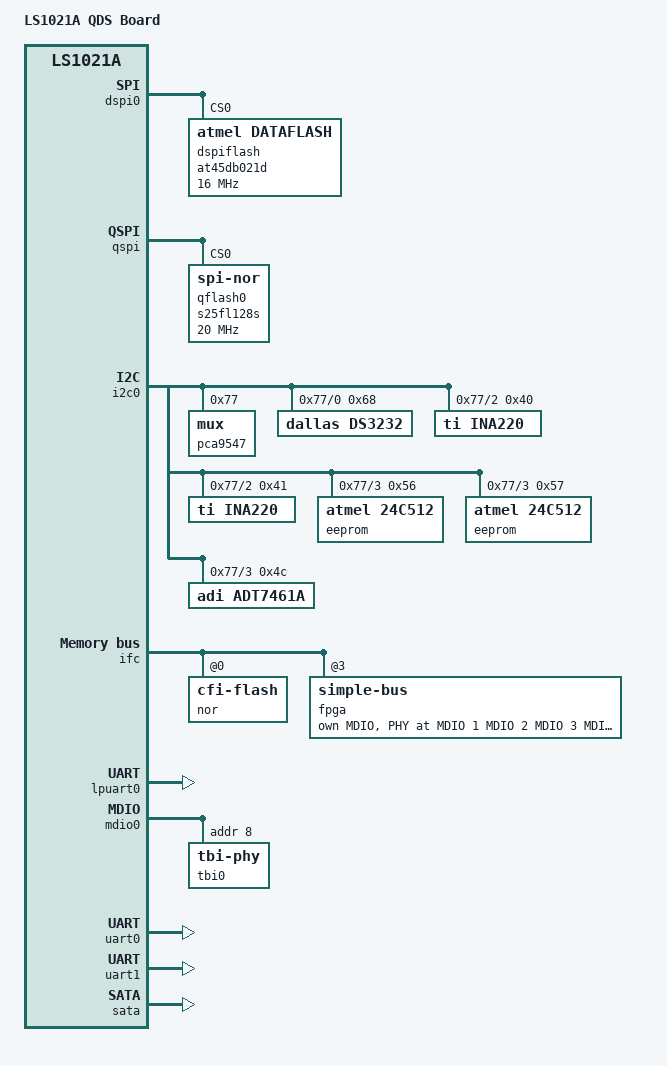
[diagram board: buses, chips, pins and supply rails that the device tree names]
// SPDX-License-Identifier: GPL-2.0+
/*
 * Freescale ls1021a QDS board common device tree source
 *
 * Copyright 2013-2015 Freescale Semiconductor, Inc.
 */

#include "ls1021a.dtsi"

/ {
	model = "LS1021A QDS Board";

	aliases {
		enet0-rgmii-phy = &rgmii_phy1;
		enet1-rgmii-phy = &rgmii_phy2;
		enet2-rgmii-phy = &rgmii_phy3;
		enet0-sgmii-phy = &sgmii_phy1c;
		enet1-sgmii-phy = &sgmii_phy1d;
		spi0 = &qspi;
		spi1 = &dspi0;
	};
};

&dspi0 {
	bus-num = <0>;
	status = "okay";

	dspiflash: at45db021d@0 {
		#address-cells = <1>;
		#size-cells = <1>;
		compatible = "atmel,dataflash";
		spi-max-frequency = <16000000>;
		spi-cpol;
		spi-cpha;
		reg = <0>;
	};
};

&qspi {
	bus-num = <0>;
	status = "okay";

	qflash0: s25fl128s@0 {
		#address-cells = <1>;
		#size-cells = <1>;
		compatible = "jedec,spi-nor";
		spi-max-frequency = <20000000>;
		reg = <0>;
	};
};

&i2c0 {
	status = "okay";

	pca9547: mux@77 {
		reg = <0x77>;
		#address-cells = <1>;
		#size-cells = <0>;

		i2c@0 {
			#address-cells = <1>;
			#size-cells = <0>;
			reg = <0x0>;

			ds3232: rtc@68 {
				compatible = "dallas,ds3232";
				reg = <0x68>;
				interrupts = <GIC_SPI 169 IRQ_TYPE_LEVEL_HIGH>;
			};
		};

		i2c@2 {
			#address-cells = <1>;
			#size-cells = <0>;
			reg = <0x2>;

			ina220@40 {
				compatible = "ti,ina220";
				reg = <0x40>;
				shunt-resistor = <1000>;
			};

			ina220@41 {
				compatible = "ti,ina220";
				reg = <0x41>;
				shunt-resistor = <1000>;
			};
		};

		i2c@3 {
			#address-cells = <1>;
			#size-cells = <0>;
			reg = <0x3>;

			eeprom@56 {
				compatible = "atmel,24c512";
				reg = <0x56>;
			};

			eeprom@57 {
				compatible = "atmel,24c512";
				reg = <0x57>;
			};

			adt7461a@4c {
				compatible = "adi,adt7461a";
				reg = <0x4c>;
			};
		};
	};
};

&ifc {
	#address-cells = <2>;
	#size-cells = <1>;
	/* NOR, NAND Flashes and FPGA on board */
	ranges = <0x0 0x0 0x60000000 0x08000000
		  0x2 0x0 0x7e800000 0x00010000
		  0x3 0x0 0x7fb00000 0x00000100>;
	status = "okay";

	nor@0,0 {
		#address-cells = <1>;
		#size-cells = <1>;
		compatible = "cfi-flash";
		reg = <0x0 0x0 0x8000000>;
		bank-width = <2>;
		device-width = <1>;
	};

	fpga: board-control@3,0 {
		#address-cells = <1>;
		#size-cells = <1>;
		compatible = "simple-bus";
		reg = <0x3 0x0 0x0000100>;
		bank-width = <1>;
		device-width = <1>;
		ranges = <0 3 0 0x100>;

		mdio-mux-emi1 {
			compatible = "mdio-mux-mmioreg";
			mdio-parent-bus = <&mdio0>;
			#address-cells = <1>;
			#size-cells = <0>;
			reg = <0x54 1>; /* BRDCFG4 */
			mux-mask = <0xe0>; /* EMI1[2:0] */

			/* Onboard PHYs */
			ls1021amdio0: mdio@0 {
				reg = <0>;
				#address-cells = <1>;
				#size-cells = <0>;
				rgmii_phy1: ethernet-phy@1 {
					reg = <0x1>;
				};
			};

			ls1021amdio1: mdio@20 {
				reg = <0x20>;
				#address-cells = <1>;
				#size-cells = <0>;
				rgmii_phy2: ethernet-phy@2 {
					reg = <0x2>;
				};
			};

			ls1021amdio2: mdio@40 {
				reg = <0x40>;
				#address-cells = <1>;
				#size-cells = <0>;
				rgmii_phy3: ethernet-phy@3 {
					reg = <0x3>;
				};
			};

			ls1021amdio3: mdio@60 {
				reg = <0x60>;
				#address-cells = <1>;
				#size-cells = <0>;
				sgmii_phy1c: ethernet-phy@1c {
					reg = <0x1c>;
				};
			};

			ls1021amdio4: mdio@80 {
				reg = <0x80>;
				#address-cells = <1>;
				#size-cells = <0>;
				sgmii_phy1d: ethernet-phy@1d {
					reg = <0x1d>;
				};
			};
		};
	};
};

&lpuart0 {
	status = "okay";
};

&mdio0 {
	tbi0: tbi-phy@8 {
		reg = <0x8>;
		device_type = "tbi-phy";
	};
};

&uart0 {
	status = "okay";
};

&uart1 {
	status = "okay";
};

&sata {
	status = "okay";
};
